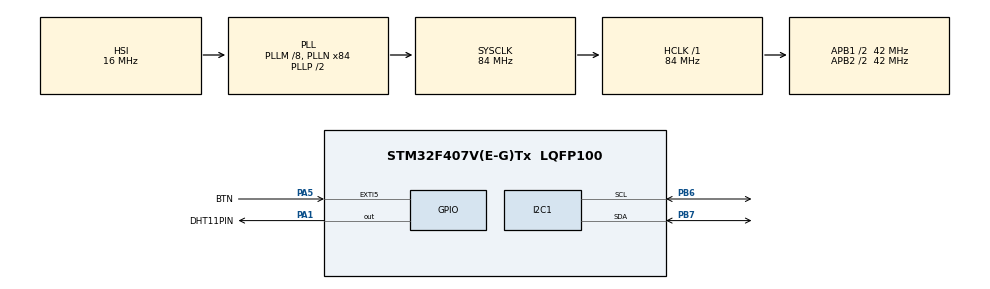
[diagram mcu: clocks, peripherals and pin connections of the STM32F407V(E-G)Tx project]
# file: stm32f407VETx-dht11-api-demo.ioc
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I2C1.I2C_Mode=I2C_Fast
Mcu.Family=STM32F4
Mcu.Name=STM32F407V(E-G)Tx
Mcu.Package=LQFP100
NVIC.EXTI9_5_IRQn=true\:0\:0\:false\:false\:true\:true\:true
NVIC.PriorityGroup=NVIC_PRIORITYGROUP_4
PA1.GPIO_Label=DHT11PIN
PA1.Signal=GPIO_Output
PA13.Mode=Serial_Wire
PA13.Signal=SYS_JTMS-SWDIO
PA14.Mode=Serial_Wire
PA14.Signal=SYS_JTCK-SWCLK
PA5.GPIO_Label=BTN
PA5.GPIO_PuPd=GPIO_PULLUP
PA5.Signal=GPXTI5
PB6.Mode=I2C
PB6.Signal=I2C1_SCL
PB7.Mode=I2C
PB7.Signal=I2C1_SDA
PH0-OSC_IN.Mode=HSE-External-Oscillator
PH0-OSC_IN.Signal=RCC_OSC_IN
PH1-OSC_OUT.Mode=HSE-External-Oscillator
PH1-OSC_OUT.Signal=RCC_OSC_OUT
ProjectManager.HeapSize=0x200
ProjectManager.StackSize=0x400
ProjectManager.TargetToolchain=SW4STM32
RCC.48MHZClocksFreq_Value=42000000
RCC.AHBFreq_Value=84000000
RCC.APB1CLKDivider=RCC_HCLK_DIV2
RCC.APB1Freq_Value=42000000
RCC.APB1TimFreq_Value=84000000
RCC.APB2CLKDivider=RCC_HCLK_DIV2
RCC.APB2Freq_Value=42000000
RCC.APB2TimFreq_Value=84000000
RCC.CortexFreq_Value=84000000
RCC.HCLKFreq_Value=84000000
RCC.HSE_VALUE=25000000
RCC.HSI_VALUE=16000000
RCC.LSE_VALUE=32768
RCC.PLLM=8
RCC.PLLN=84
RCC.SYSCLKFreq_VALUE=84000000
RCC.SYSCLKSource=RCC_SYSCLKSOURCE_PLLCLK
RCC.VCOOutputFreq_Value=168000000
TIM1.Period=0xffff-1
TIM1.Prescaler=84-1
VP_TIM1_VS_ClockSourceINT.Mode=Internal
board=custom

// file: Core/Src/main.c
/* USER CODE BEGIN Header */
/**
 ******************************************************************************
 * @file           : main.c
 * @brief          : Main program body
 ******************************************************************************
 * @attention
 *
 * <h2><center>&copy; Copyright (c) 2021 STMicroelectronics.
 * All rights reserved.</center></h2>
 *
 * This software component is licensed by ST under BSD 3-Clause license,
 * the "License"; You may not use this file except in compliance with the
 * License. You may obtain a copy of the License at:
 *                        opensource.org/licenses/BSD-3-Clause
 *
 ******************************************************************************
 */
/* USER CODE END Header */
#include "main.h"

/* USER CODE BEGIN Includes */
#include "dht11.h"
#include "ssd1306.h"
#include "fonts.h"
/* USER CODE END Includes */

/* USER CODE BEGIN PD */
#define PRESENTATION_STATE 0
#define RAWREAD_STATE 1
#define TEMP_STATE 2
#define RH_STATE 3
#define AH_STATE 4
#define DEWPOINT_STATE 5

#define DEFAULT_DELAY 3500
#define TEXT_X 5
#define TEXT_Y 6

/* USER CODE END PD */

I2C_HandleTypeDef hi2c1;

TIM_HandleTypeDef htim1;

void SystemClock_Config(void);
static void MX_GPIO_Init(void);
static void MX_I2C1_Init(void);
static void MX_TIM1_Init(void);

/* USER CODE BEGIN 0 */
DHT11_struct Dstruct;
/* USER CODE END 0 */

int main(void) {
  /* USER CODE BEGIN 1 */
  char buffer[20];
  float tempFloat, ahFloat, dewPointFloat;
  uint32_t delay = DEFAULT_DELAY;
  uint8_t state = PRESENTATION_STATE, ahInt, ahtDec,
      tempInt, tempDec, dewPointInt, dewPointDec;

  /* USER CODE END 1 */

  /* MCU Configuration--------------------------------------------------------*/

  /* Reset of all peripherals, Initializes the Flash interface and the Systick. */
  HAL_Init();

  /* Configure the system clock */
  SystemClock_Config();

  /* Initialize all configured peripherals */
  MX_GPIO_Init();
  MX_I2C1_Init();
  MX_TIM1_Init();
  /* USER CODE BEGIN 2 */
  HAL_TIM_Base_Start(&htim1);
  DHT11_init(GPIOA, GPIO_PIN_1);
  SSD1306_Init();

  /* USER CODE END 2 */

  /* Infinite loop */
  /* USER CODE BEGIN WHILE */
  while (1) {
    SSD1306_DrawFilledRectangle(0, 0, 128, 64, 1);
    SSD1306_DrawFilledRectangle(2, 2, 124, 60, 0);
    SSD1306_GotoXY(TEXT_X, TEXT_Y);

    switch (state) {
    case PRESENTATION_STATE:
      SSD1306_DrawFilledRectangle(0, 0, 128, 64, 1);
      SSD1306_GotoXY(30, 0);
      SSD1306_Puts("DEMO", &Font_16x26, 0);
      SSD1306_GotoXY(10, 30);
      SSD1306_Puts("stm32fxxx-dht11", &Font_7x10, 0);
      SSD1306_GotoXY(47, 45);
      SSD1306_Puts("API", &Font_11x18, 0);

      delay = 2000;
      break;

    case RAWREAD_STATE:
      DHT11_rawread();

      SSD1306_Puts("DHT11_rawread()", &Font_7x10, 1);
      sprintf(buffer, "TEMP: %d,%d *C", Dstruct.tempInt, Dstruct.tempDec);
      SSD1306_GotoXY(TEXT_X, TEXT_Y + 20);
      SSD1306_Puts(buffer, &Font_7x10, 1);
      sprintf(buffer, "RH: %d %% ", Dstruct.rhInt);
      SSD1306_GotoXY(TEXT_X, TEXT_Y + 35);
      SSD1306_Puts(buffer, &Font_7x10, 1);
      break;

    case TEMP_STATE:
      tempFloat = DHT11_temp();
      tempInt = (uint8_t) tempFloat;
      tempDec = (uint8_t) ((tempFloat - (float) tempInt) * 10);

      SSD1306_Puts("DHT11_temp()", &Font_7x10, 1);
      sprintf(buffer, "TEMP: %d,%d C", tempInt, tempDec);
      SSD1306_GotoXY(TEXT_X, TEXT_Y + 20);
      SSD1306_Puts(buffer, &Font_7x10, 1);
      break;

    case RH_STATE:
      SSD1306_Puts("DHT11_rh()", &Font_7x10, 1);
      sprintf(buffer, "RH: %d %%", DHT11_rh());
      SSD1306_GotoXY(TEXT_X, TEXT_Y + 20);
      SSD1306_Puts(buffer, &Font_7x10, 1);
      break;

    case AH_STATE:
      ahFloat = DHT11_ah();
      ahInt = (uint8_t) ahFloat;
      ahtDec = (uint8_t) ((ahFloat - (float) ahInt) * 100);

      SSD1306_Puts("DHT11_ah()", &Font_7x10, 1);
      sprintf(buffer, "AH: %d,%d g/m3", ahInt, ahtDec);
      SSD1306_GotoXY(TEXT_X, TEXT_Y + 20);
      SSD1306_Puts(buffer, &Font_7x10, 1);
      break;

    case DEWPOINT_STATE:
      dewPointFloat = DHT11_dewpoint();
      dewPointInt = (uint8_t) dewPointFloat;
      dewPointDec = (uint8_t) ((dewPointFloat - (float) dewPointInt) * 10);

      SSD1306_Puts("DHT11_dewpoint()", &Font_7x10, 1);
      sprintf(buffer, "DP: %d,%d *C", dewPointInt, dewPointDec);
      SSD1306_GotoXY(TEXT_X, TEXT_Y + 20);
      SSD1306_Puts(buffer, &Font_7x10, 1);
      break;

    default:
      state = 0;
      delay = 0;
      break;
    }
    /* USER CODE END WHILE */

    /* USER CODE BEGIN 3 */
    SSD1306_UpdateScreen();
    HAL_Delay(delay);

    state++;
    delay = DEFAULT_DELAY;
  }
  /* USER CODE END 3 */
}

void SystemClock_Config(void)
{
  RCC_OscInitTypeDef RCC_OscInitStruct = {0};
  RCC_ClkInitTypeDef RCC_ClkInitStruct = {0};

  /** Configure the main internal regulator output voltage
  */
  __HAL_RCC_PWR_CLK_ENABLE();
  __HAL_PWR_VOLTAGESCALING_CONFIG(PWR_REGULATOR_VOLTAGE_SCALE1);
  /** Initializes the RCC Oscillators according to the specified parameters
  * in the RCC_OscInitTypeDef structure.
  */
  RCC_OscInitStruct.OscillatorType = RCC_OSCILLATORTYPE_HSI;
  RCC_OscInitStruct.HSIState = RCC_HSI_ON;
  RCC_OscInitStruct.HSICalibrationValue = RCC_HSICALIBRATION_DEFAULT;
  RCC_OscInitStruct.PLL.PLLState = RCC_PLL_ON;
  RCC_OscInitStruct.PLL.PLLSource = RCC_PLLSOURCE_HSI;
  RCC_OscInitStruct.PLL.PLLM = 8;
  RCC_OscInitStruct.PLL.PLLN = 84;
  RCC_OscInitStruct.PLL.PLLP = RCC_PLLP_DIV2;
  RCC_OscInitStruct.PLL.PLLQ = 4;
  if (HAL_RCC_OscConfig(&RCC_OscInitStruct) != HAL_OK)
  {
    Error_Handler();
  }
  /** Initializes the CPU, AHB and APB buses clocks
  */
  RCC_ClkInitStruct.ClockType = RCC_CLOCKTYPE_HCLK|RCC_CLOCKTYPE_SYSCLK
                              |RCC_CLOCKTYPE_PCLK1|RCC_CLOCKTYPE_PCLK2;
  RCC_ClkInitStruct.SYSCLKSource = RCC_SYSCLKSOURCE_PLLCLK;
  RCC_ClkInitStruct.AHBCLKDivider = RCC_SYSCLK_DIV1;
  RCC_ClkInitStruct.APB1CLKDivider = RCC_HCLK_DIV2;
  RCC_ClkInitStruct.APB2CLKDivider = RCC_HCLK_DIV2;

  if (HAL_RCC_ClockConfig(&RCC_ClkInitStruct, FLASH_LATENCY_2) != HAL_OK)
  {
    Error_Handler();
  }
}

static void MX_I2C1_Init(void)
{

  hi2c1.Instance = I2C1;
  hi2c1.Init.ClockSpeed = 400000;
  hi2c1.Init.DutyCycle = I2C_DUTYCYCLE_2;
  hi2c1.Init.OwnAddress1 = 0;
  hi2c1.Init.AddressingMode = I2C_ADDRESSINGMODE_7BIT;
  hi2c1.Init.DualAddressMode = I2C_DUALADDRESS_DISABLE;
  hi2c1.Init.OwnAddress2 = 0;
  hi2c1.Init.GeneralCallMode = I2C_GENERALCALL_DISABLE;
  hi2c1.Init.NoStretchMode = I2C_NOSTRETCH_DISABLE;
  if (HAL_I2C_Init(&hi2c1) != HAL_OK)
  {
    Error_Handler();
  }

}

static void MX_TIM1_Init(void)
{

  TIM_ClockConfigTypeDef sClockSourceConfig = {0};
  TIM_MasterConfigTypeDef sMasterConfig = {0};

  htim1.Instance = TIM1;
  htim1.Init.Prescaler = 84-1;
  htim1.Init.CounterMode = TIM_COUNTERMODE_UP;
  htim1.Init.Period = 0xffff-1;
  htim1.Init.ClockDivision = TIM_CLOCKDIVISION_DIV1;
  htim1.Init.RepetitionCounter = 0;
  htim1.Init.AutoReloadPreload = TIM_AUTORELOAD_PRELOAD_DISABLE;
  if (HAL_TIM_Base_Init(&htim1) != HAL_OK)
  {
    Error_Handler();
  }
  sClockSourceConfig.ClockSource = TIM_CLOCKSOURCE_INTERNAL;
  if (HAL_TIM_ConfigClockSource(&htim1, &sClockSourceConfig) != HAL_OK)
  {
    Error_Handler();
  }
  sMasterConfig.MasterOutputTrigger = TIM_TRGO_RESET;
  sMasterConfig.MasterSlaveMode = TIM_MASTERSLAVEMODE_DISABLE;
  if (HAL_TIMEx_MasterConfigSynchronization(&htim1, &sMasterConfig) != HAL_OK)
  {
    Error_Handler();
  }

}

static void MX_GPIO_Init(void)
{
  GPIO_InitTypeDef GPIO_InitStruct = {0};

  /* GPIO Ports Clock Enable */
  __HAL_RCC_GPIOH_CLK_ENABLE();
  __HAL_RCC_GPIOA_CLK_ENABLE();
  __HAL_RCC_GPIOB_CLK_ENABLE();

  /*Configure GPIO pin Output Level */
  HAL_GPIO_WritePin(DHT11PIN_GPIO_Port, DHT11PIN_Pin, GPIO_PIN_RESET);

  /*Configure GPIO pin : DHT11PIN_Pin */
  GPIO_InitStruct.Pin = DHT11PIN_Pin;
  GPIO_InitStruct.Mode = GPIO_MODE_OUTPUT_PP;
  GPIO_InitStruct.Pull = GPIO_NOPULL;
  GPIO_InitStruct.Speed = GPIO_SPEED_FREQ_LOW;
  HAL_GPIO_Init(DHT11PIN_GPIO_Port, &GPIO_InitStruct);

  /*Configure GPIO pin : BTN_Pin */
  GPIO_InitStruct.Pin = BTN_Pin;
  GPIO_InitStruct.Mode = GPIO_MODE_IT_RISING;
  GPIO_InitStruct.Pull = GPIO_PULLUP;
  HAL_GPIO_Init(BTN_GPIO_Port, &GPIO_InitStruct);

  /* EXTI interrupt init*/
  HAL_NVIC_SetPriority(EXTI9_5_IRQn, 0, 0);
  HAL_NVIC_EnableIRQ(EXTI9_5_IRQn);

}

void Error_Handler(void)
{
  __disable_irq();
  while (1)
  {
  }
}

/************************ (C) COPYRIGHT STMicroelectronics *****END OF FILE****/
